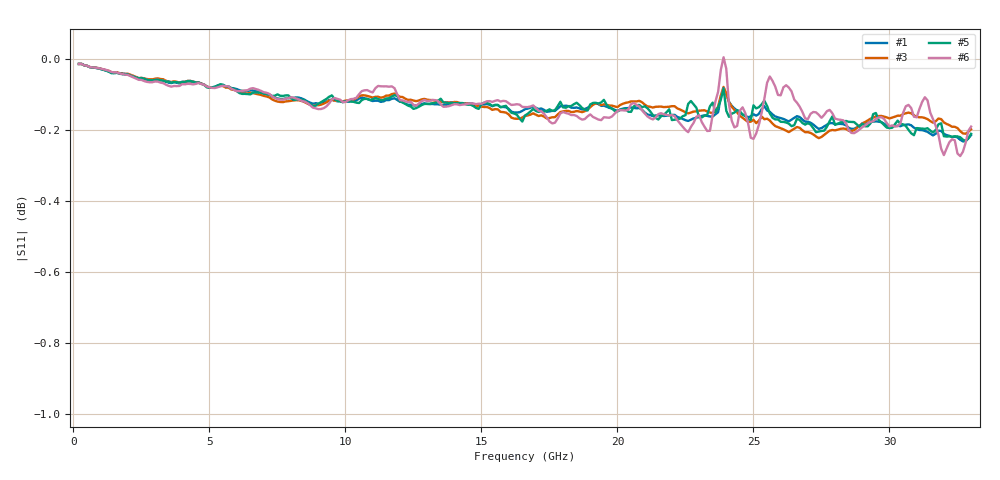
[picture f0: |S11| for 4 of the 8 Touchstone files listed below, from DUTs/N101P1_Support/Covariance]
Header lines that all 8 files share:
# GHZ S RI R 50
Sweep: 200 MHz to 33 GHz
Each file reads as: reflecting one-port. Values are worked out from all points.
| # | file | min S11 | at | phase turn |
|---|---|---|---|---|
| 1 | N101P1_0.s2p | -0.2 dB | 32.7 GHz | -2367 deg |
| 2 | N101P1_1.s2p | -0.2 dB | 32.7 GHz | -2367 deg |
| 3 | N101P1_4.s2p | -0.2 dB | 27.4 GHz | -2368 deg |
| 4 | N101P1_5.s2p | -0.2 dB | 32.7 GHz | -2367 deg |
| 5 | N101P1_8.s2p | -0.2 dB | 32.8 GHz | -2367 deg |
| 6 | N101P1_10.s2p | -0.3 dB | 32.6 GHz | -2367 deg |
| 7 | N101P1_14.s2p | -0.2 dB | 32.7 GHz | -2367 deg |
| 8 | N101P1_15.s2p | -0.2 dB | 32.7 GHz | -2367 deg |
